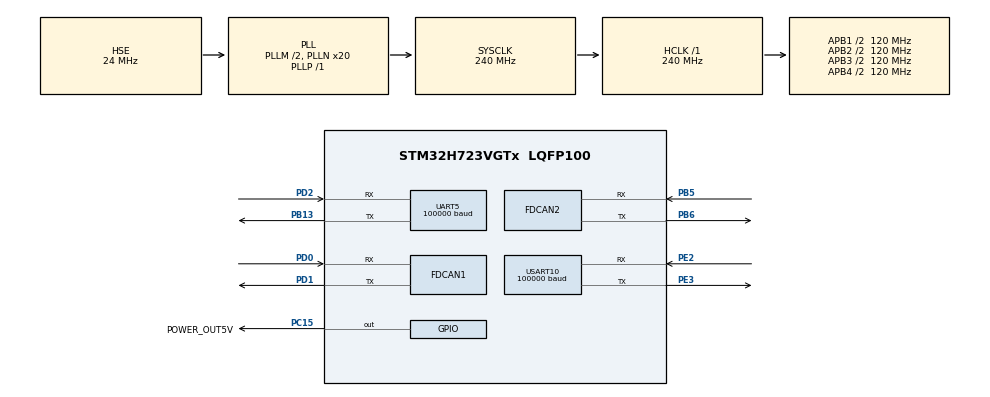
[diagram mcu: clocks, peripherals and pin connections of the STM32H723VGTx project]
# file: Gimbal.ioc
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CORTEX_M7.default_mode_Activation=0
Dma.Request0=USART10_TX
Dma.Request1=USART10_RX
Dma.Request2=UART5_RX
Dma.Request3=UART5_TX
Dma.UART5_RX.2.Direction=DMA_PERIPH_TO_MEMORY
Dma.UART5_RX.2.EventEnable=DISABLE
Dma.UART5_RX.2.FIFOMode=DMA_FIFOMODE_DISABLE
Dma.UART5_RX.2.Instance=DMA2_Stream5
Dma.UART5_RX.2.MemDataAlignment=DMA_MDATAALIGN_BYTE
Dma.UART5_RX.2.MemInc=DMA_MINC_ENABLE
Dma.UART5_RX.2.Mode=DMA_NORMAL
Dma.UART5_RX.2.PeriphDataAlignment=DMA_PDATAALIGN_BYTE
Dma.UART5_RX.2.PeriphInc=DMA_PINC_DISABLE
Dma.UART5_RX.2.Polarity=HAL_DMAMUX_REQ_GEN_RISING
Dma.UART5_RX.2.Priority=DMA_PRIORITY_HIGH
Dma.UART5_RX.2.RequestNumber=1
Dma.UART5_RX.2.SignalID=NONE
Dma.UART5_RX.2.SyncEnable=DISABLE
Dma.UART5_RX.2.SyncPolarity=HAL_DMAMUX_SYNC_NO_EVENT
Dma.UART5_RX.2.SyncRequestNumber=1
Dma.UART5_RX.2.SyncSignalID=NONE
Dma.UART5_TX.3.Direction=DMA_MEMORY_TO_PERIPH
Dma.UART5_TX.3.EventEnable=DISABLE
Dma.UART5_TX.3.FIFOMode=DMA_FIFOMODE_DISABLE
Dma.UART5_TX.3.Instance=DMA2_Stream6
Dma.UART5_TX.3.MemDataAlignment=DMA_MDATAALIGN_BYTE
Dma.UART5_TX.3.MemInc=DMA_MINC_ENABLE
Dma.UART5_TX.3.Mode=DMA_NORMAL
Dma.UART5_TX.3.PeriphDataAlignment=DMA_PDATAALIGN_BYTE
Dma.UART5_TX.3.PeriphInc=DMA_PINC_DISABLE
Dma.UART5_TX.3.Polarity=HAL_DMAMUX_REQ_GEN_RISING
Dma.UART5_TX.3.Priority=DMA_PRIORITY_HIGH
Dma.UART5_TX.3.RequestNumber=1
Dma.UART5_TX.3.SignalID=NONE
Dma.UART5_TX.3.SyncEnable=DISABLE
Dma.UART5_TX.3.SyncPolarity=HAL_DMAMUX_SYNC_NO_EVENT
Dma.UART5_TX.3.SyncRequestNumber=1
Dma.UART5_TX.3.SyncSignalID=NONE
Dma.USART10_RX.1.Direction=DMA_PERIPH_TO_MEMORY
Dma.USART10_RX.1.EventEnable=DISABLE
Dma.USART10_RX.1.FIFOMode=DMA_FIFOMODE_DISABLE
Dma.USART10_RX.1.Instance=DMA2_Stream3
Dma.USART10_RX.1.MemDataAlignment=DMA_MDATAALIGN_BYTE
Dma.USART10_RX.1.MemInc=DMA_MINC_ENABLE
Dma.USART10_RX.1.Mode=DMA_NORMAL
Dma.USART10_RX.1.PeriphDataAlignment=DMA_PDATAALIGN_BYTE
Dma.USART10_RX.1.PeriphInc=DMA_PINC_DISABLE
Dma.USART10_RX.1.Polarity=HAL_DMAMUX_REQ_GEN_RISING
Dma.USART10_RX.1.Priority=DMA_PRIORITY_HIGH
Dma.USART10_RX.1.RequestNumber=1
Dma.USART10_RX.1.SignalID=NONE
Dma.USART10_RX.1.SyncEnable=DISABLE
Dma.USART10_RX.1.SyncPolarity=HAL_DMAMUX_SYNC_NO_EVENT
Dma.USART10_RX.1.SyncRequestNumber=1
Dma.USART10_RX.1.SyncSignalID=NONE
Dma.USART10_TX.0.Direction=DMA_MEMORY_TO_PERIPH
Dma.USART10_TX.0.EventEnable=DISABLE
Dma.USART10_TX.0.FIFOMode=DMA_FIFOMODE_DISABLE
Dma.USART10_TX.0.Instance=DMA2_Stream0
Dma.USART10_TX.0.MemDataAlignment=DMA_MDATAALIGN_BYTE
Dma.USART10_TX.0.MemInc=DMA_MINC_ENABLE
Dma.USART10_TX.0.Mode=DMA_NORMAL
Dma.USART10_TX.0.PeriphDataAlignment=DMA_PDATAALIGN_BYTE
Dma.USART10_TX.0.PeriphInc=DMA_PINC_DISABLE
Dma.USART10_TX.0.Polarity=HAL_DMAMUX_REQ_GEN_RISING
Dma.USART10_TX.0.Priority=DMA_PRIORITY_HIGH
Dma.USART10_TX.0.RequestNumber=1
Dma.USART10_TX.0.SignalID=NONE
Dma.USART10_TX.0.SyncEnable=DISABLE
Dma.USART10_TX.0.SyncPolarity=HAL_DMAMUX_SYNC_NO_EVENT
Dma.USART10_TX.0.SyncRequestNumber=1
Dma.USART10_TX.0.SyncSignalID=NONE
FDCAN1.AutoRetransmission=ENABLE
FDCAN1.CalculateBaudRateNominal=1000000
FDCAN1.CalculateTimeBitNominal=1000
FDCAN1.CalculateTimeQuantumNominal=25.0
FDCAN1.DataPrescaler=3
FDCAN1.DataSyncJumpWidth=10
FDCAN1.DataTimeSeg1=29
FDCAN1.DataTimeSeg2=10
FDCAN1.NominalPrescaler=3
FDCAN1.NominalSyncJumpWidth=10
FDCAN1.NominalTimeSeg1=29
FDCAN1.NominalTimeSeg2=10
FDCAN1.ProtocolException=ENABLE
FDCAN1.RxFifo0ElmtsNbr=4
FDCAN1.StdFiltersNbr=1
FDCAN1.TxFifoQueueElmtsNbr=4
FDCAN2.AutoRetransmission=ENABLE
FDCAN2.CalculateBaudRateNominal=1000000
FDCAN2.CalculateTimeBitNominal=1000
FDCAN2.CalculateTimeQuantumNominal=25.0
FDCAN2.DataPrescaler=3
FDCAN2.DataSyncJumpWidth=10
FDCAN2.DataTimeSeg1=29
FDCAN2.DataTimeSeg2=10
FDCAN2.MessageRAMOffset=1280
FDCAN2.NominalPrescaler=3
FDCAN2.NominalSyncJumpWidth=10
FDCAN2.NominalTimeSeg1=29
FDCAN2.NominalTimeSeg2=10
FDCAN2.ProtocolException=ENABLE
FDCAN2.RxFifo0ElmtsNbr=4
FDCAN2.StdFiltersNbr=1
FDCAN2.TxFifoQueueElmtsNbr=4
FREERTOS.Tasks01=defaultTask,24,128,StartDefaultTask,Default,NULL,Dynamic,NULL,NULL;SBUSTask,48,128,StartSBUSTask,Default,NULL,Dynamic,NULL,NULL;BoardcommTask,48,128,StartBoardcommTask,Default,NULL,Dynamic,NULL,NULL
Mcu.Family=STM32H7
Mcu.Name=STM32H723VGTx
Mcu.Package=LQFP100
NVIC.DMA2_Stream0_IRQn=true\:5\:0\:false\:false\:true\:true\:false\:true\:true
NVIC.DMA2_Stream3_IRQn=true\:5\:0\:false\:false\:true\:true\:false\:true\:true
NVIC.DMA2_Stream5_IRQn=true\:5\:0\:false\:false\:true\:true\:false\:true\:true
NVIC.DMA2_Stream6_IRQn=true\:5\:0\:false\:false\:true\:true\:false\:true\:true
NVIC.FDCAN1_IT0_IRQn=true\:5\:0\:false\:false\:true\:true\:true\:true\:true
NVIC.FDCAN1_IT1_IRQn=true\:5\:0\:false\:false\:true\:true\:true\:true\:true
NVIC.FDCAN2_IT0_IRQn=true\:5\:0\:false\:false\:true\:true\:true\:true\:true
NVIC.FDCAN2_IT1_IRQn=true\:5\:0\:false\:false\:true\:true\:true\:true\:true
NVIC.PriorityGroup=NVIC_PRIORITYGROUP_4
NVIC.TIM2_IRQn=true\:15\:0\:false\:false\:true\:false\:false\:true\:true
NVIC.TimeBase=TIM2_IRQn
NVIC.TimeBaseIP=TIM2
NVIC.UART5_IRQn=true\:5\:0\:false\:false\:true\:true\:true\:true\:true
NVIC.USART10_IRQn=true\:5\:0\:false\:false\:true\:true\:false\:true\:true
PB13.Mode=Asynchronous
PB13.Signal=UART5_TX
PB5.Mode=FDCAN_Activate
PB5.Signal=FDCAN2_RX
PB6.Mode=FDCAN_Activate
PB6.Signal=FDCAN2_TX
PC15-OSC32_OUT.GPIO_Label=POWER_OUT5V 
PC15-OSC32_OUT.PinState=GPIO_PIN_SET
PC15-OSC32_OUT.Signal=GPIO_Output
PD0.Mode=FDCAN_Activate
PD0.Signal=FDCAN1_RX
PD1.Mode=FDCAN_Activate
PD1.Signal=FDCAN1_TX
PD2.Mode=Asynchronous
PD2.Signal=UART5_RX
PE2.Mode=Asynchronous
PE2.Signal=USART10_RX
PE3.Mode=Asynchronous
PE3.Signal=USART10_TX
PH0-OSC_IN.Mode=HSE-External-Oscillator
PH0-OSC_IN.Signal=RCC_OSC_IN
PH1-OSC_OUT.Mode=HSE-External-Oscillator
PH1-OSC_OUT.Signal=RCC_OSC_OUT
ProjectManager.HeapSize=0x20000
ProjectManager.StackSize=0x400
ProjectManager.TargetToolchain=MDK-ARM V5.32
RCC.ADCFreq_Value=48375000
RCC.APB1Freq_Value=120000000
RCC.APB2Freq_Value=120000000
RCC.APB3Freq_Value=120000000
RCC.APB4Freq_Value=120000000
RCC.CortexFreq_Value=240000000
RCC.D1PPRE=RCC_APB3_DIV2
RCC.D2PPRE1=RCC_APB1_DIV2
RCC.D2PPRE2=RCC_APB2_DIV2
RCC.D3PPRE=RCC_APB4_DIV2
RCC.DIVM1=2
RCC.DIVN1=20
RCC.DIVP1=1
RCC.HCLKFreq_Value=240000000
RCC.HSE_VALUE=24000000
RCC.PLLFRACN=0
RCC.PLLSourceVirtual=RCC_PLLSOURCE_HSE
RCC.SYSCLKFreq_VALUE=240000000
RCC.SYSCLKSource=RCC_SYSCLKSOURCE_PLLCLK
RCC.USBFreq_Value=120000000
UART5.BaudRate=100000
UART5.Parity=PARITY_EVEN
UART5.StopBits=UART_STOPBITS_2
UART5.WordLength=WORDLENGTH_9B
USART10.BaudRate=100000
USART10.Parity=PARITY_EVEN
USART10.StopBits=STOPBITS_2
USART10.VirtualMode=VM_ASYNC
USART10.WordLength=WORDLENGTH_9B
VP_FREERTOS_VS_CMSIS_V2.Mode=CMSIS_V2
VP_MEMORYMAP_VS_MEMORYMAP.Mode=CurAppReg
VP_SYS_VS_tim2.Mode=TIM2
board=custom

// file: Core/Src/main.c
/* USER CODE BEGIN Header */
/**
  ******************************************************************************
  * @file           : main.c
  * @brief          : Main program body
  ******************************************************************************
  * @attention
  *
  * Copyright (c) 2025 STMicroelectronics.
  * All rights reserved.
  *
  * This software is licensed under terms that can be found in the LICENSE file
  * in the root directory of this software component.
  * If no LICENSE file comes with this software, it is provided AS-IS.
  *
  ******************************************************************************
  */
/* USER CODE END Header */
#include "main.h"
#include "cmsis_os.h"
#include "dma.h"
#include "fdcan.h"
#include "memorymap.h"
#include "usart.h"
#include "gpio.h"

/* USER CODE BEGIN Includes */
#include "SBUS.h"
#include "Task_manager.h"
#include "BSP_fdcan.h"
/* USER CODE END Includes */

void SystemClock_Config(void);
void MX_FREERTOS_Init(void);

int main(void)
{

  /* MCU Configuration--------------------------------------------------------*/

  /* Reset of all peripherals, Initializes the Flash interface and the Systick. */
  HAL_Init();

  /* Configure the system clock */
  SystemClock_Config();

  /* Initialize all configured peripherals */
  MX_GPIO_Init();
  MX_DMA_Init();
  MX_USART10_UART_Init();
  MX_UART5_Init();
  MX_FDCAN2_Init();
  MX_FDCAN1_Init();
  /* USER CODE BEGIN 2 */

	Can_Fun.can_bsp_init();
	Task_init();
  /* USER CODE END 2 */

  /* Init scheduler */
  osKernelInitialize();

  /* Call init function for freertos objects (in cmsis_os2.c) */
 MX_FREERTOS_Init();

  /* Start scheduler */
 osKernelStart();

  /* We should never get here as control is now taken by the scheduler */

  /* Infinite loop */
  while (1)
  {

  }
}

void SystemClock_Config(void)
{
  RCC_OscInitTypeDef RCC_OscInitStruct = {0};
  RCC_ClkInitTypeDef RCC_ClkInitStruct = {0};

  /** Supply configuration update enable
  */
  HAL_PWREx_ConfigSupply(PWR_LDO_SUPPLY);

  /** Configure the main internal regulator output voltage
  */
  __HAL_PWR_VOLTAGESCALING_CONFIG(PWR_REGULATOR_VOLTAGE_SCALE0);

  while(!__HAL_PWR_GET_FLAG(PWR_FLAG_VOSRDY)) {}

  /** Initializes the RCC Oscillators according to the specified parameters
  * in the RCC_OscInitTypeDef structure.
  */
  RCC_OscInitStruct.OscillatorType = RCC_OSCILLATORTYPE_HSE;
  RCC_OscInitStruct.HSEState = RCC_HSE_ON;
  RCC_OscInitStruct.PLL.PLLState = RCC_PLL_ON;
  RCC_OscInitStruct.PLL.PLLSource = RCC_PLLSOURCE_HSE;
  RCC_OscInitStruct.PLL.PLLM = 2;
  RCC_OscInitStruct.PLL.PLLN = 20;
  RCC_OscInitStruct.PLL.PLLP = 1;
  RCC_OscInitStruct.PLL.PLLQ = 2;
  RCC_OscInitStruct.PLL.PLLR = 2;
  RCC_OscInitStruct.PLL.PLLRGE = RCC_PLL1VCIRANGE_3;
  RCC_OscInitStruct.PLL.PLLVCOSEL = RCC_PLL1VCOWIDE;
  RCC_OscInitStruct.PLL.PLLFRACN = 0;
  if (HAL_RCC_OscConfig(&RCC_OscInitStruct) != HAL_OK)
  {
    Error_Handler();
  }

  /** Initializes the CPU, AHB and APB buses clocks
  */
  RCC_ClkInitStruct.ClockType = RCC_CLOCKTYPE_HCLK|RCC_CLOCKTYPE_SYSCLK
                              |RCC_CLOCKTYPE_PCLK1|RCC_CLOCKTYPE_PCLK2
                              |RCC_CLOCKTYPE_D3PCLK1|RCC_CLOCKTYPE_D1PCLK1;
  RCC_ClkInitStruct.SYSCLKSource = RCC_SYSCLKSOURCE_PLLCLK;
  RCC_ClkInitStruct.SYSCLKDivider = RCC_SYSCLK_DIV1;
  RCC_ClkInitStruct.AHBCLKDivider = RCC_HCLK_DIV1;
  RCC_ClkInitStruct.APB3CLKDivider = RCC_APB3_DIV2;
  RCC_ClkInitStruct.APB1CLKDivider = RCC_APB1_DIV2;
  RCC_ClkInitStruct.APB2CLKDivider = RCC_APB2_DIV2;
  RCC_ClkInitStruct.APB4CLKDivider = RCC_APB4_DIV2;

  if (HAL_RCC_ClockConfig(&RCC_ClkInitStruct, FLASH_LATENCY_3) != HAL_OK)
  {
    Error_Handler();
  }
}

void HAL_TIM_PeriodElapsedCallback(TIM_HandleTypeDef *htim)
{
  if (htim->Instance == TIM2) {
    HAL_IncTick();
  }
}

void Error_Handler(void)
{
  __disable_irq();
  while (1)
  {
  }
}

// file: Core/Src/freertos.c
/* USER CODE BEGIN Header */
/**
  ******************************************************************************
  * File Name          : freertos.c
  * Description        : Code for freertos applications
  ******************************************************************************
  * @attention
  *
  * Copyright (c) 2025 STMicroelectronics.
  * All rights reserved.
  *
  * This software is licensed under terms that can be found in the LICENSE file
  * in the root directory of this software component.
  * If no LICENSE file comes with this software, it is provided AS-IS.
  *
  ******************************************************************************
  */
/* USER CODE END Header */

#include "FreeRTOS.h"
#include "task.h"
#include "main.h"
#include "cmsis_os.h"

/* USER CODE BEGIN Includes */
#include "SBUS.h"
#include "board_comm.h"
#include "Task_manager.h"
#include "bsp_dwt.h"

/* USER CODE END Includes */

/* Definitions for defaultTask */
osThreadId_t defaultTaskHandle;
const osThreadAttr_t defaultTask_attributes = {
  .name = "defaultTask",
  .stack_size = 128 * 4,
  .priority = (osPriority_t) osPriorityNormal,
};
/* Definitions for SBUSTask */
osThreadId_t SBUSTaskHandle;
const osThreadAttr_t SBUSTask_attributes = {
  .name = "SBUSTask",
  .stack_size = 128 * 4,
  .priority = (osPriority_t) osPriorityRealtime,
};
/* Definitions for BoardcommTask */
osThreadId_t BoardcommTaskHandle;
const osThreadAttr_t BoardcommTask_attributes = {
  .name = "BoardcommTask",
  .stack_size = 128 * 4,
  .priority = (osPriority_t) osPriorityRealtime,
};

void StartDefaultTask(void *argument);
void StartSBUSTask(void *argument);
void StartBoardcommTask(void *argument);

void MX_FREERTOS_Init(void); /* (MISRA C 2004 rule 8.1) */

void MX_FREERTOS_Init(void) {

  /* Create the thread(s) */
  /* creation of defaultTask */
  defaultTaskHandle = osThreadNew(StartDefaultTask, NULL, &defaultTask_attributes);

  /* creation of SBUSTask */
  SBUSTaskHandle = osThreadNew(StartSBUSTask, NULL, &SBUSTask_attributes);

  /* creation of BoardcommTask */
  BoardcommTaskHandle = osThreadNew(StartBoardcommTask, NULL, &BoardcommTask_attributes);

}

void StartDefaultTask(void *argument)
{
  for(;;)
  {
    osDelay(1);
  }
}

void StartSBUSTask(void *argument)
{
  /* USER CODE BEGIN StartSBUSTask */
		static float sbus_start;
  static float sbus_dt;
		SBUS_Init();
  /* Infinite loop */
  for(;;)
  {
		sbus_start= DWT_GetTimeline_ms();
		SBUS_Task();
		sbus_dt = DWT_GetTimeline_ms() - sbus_start;
    osDelay(1);
  }
  /* USER CODE END StartSBUSTask */
}

void StartBoardcommTask(void *argument)
{
  /* USER CODE BEGIN StartBoardcommTask */
	static float boardcomm_start;
  static float boardcomm_dt;

  /* Infinite loop */
  for(;;)
  {
		boardcomm_start = DWT_GetTimeline_ms();
		boardCommunicateTask();
		boardcomm_dt = DWT_GetTimeline_ms() - boardcomm_start;

  }
  /* USER CODE END StartBoardcommTask */
}
